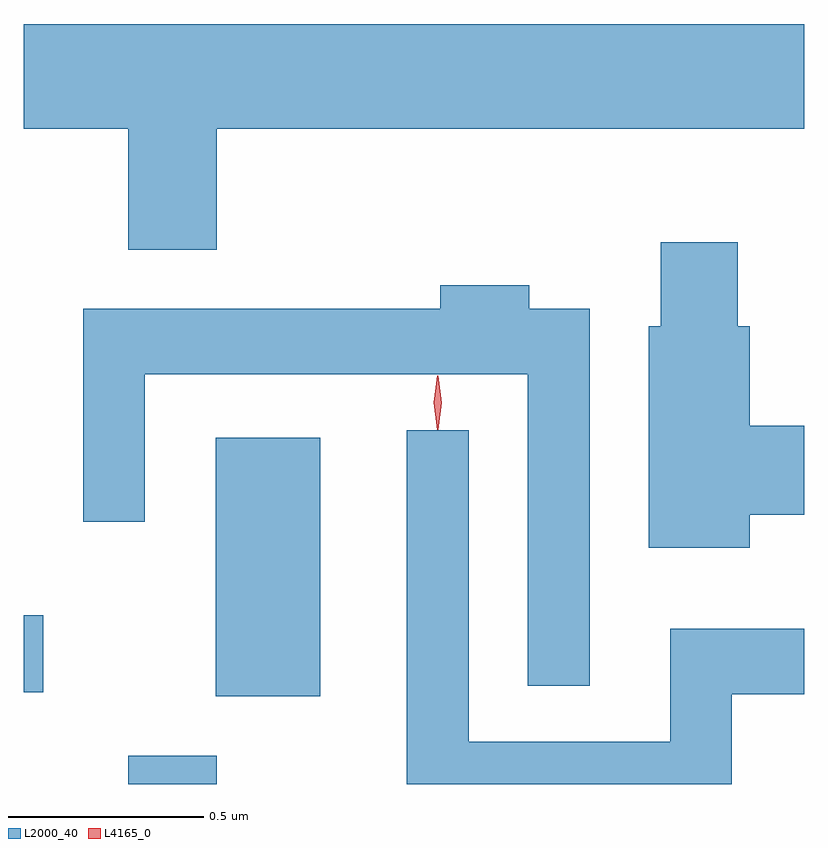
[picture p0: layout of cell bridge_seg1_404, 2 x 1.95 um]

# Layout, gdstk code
import gdstk
lib = gdstk.Library(unit=1e-6, precision=1e-09)
def R(c, l, rs):  # rectangles x0, y0, x1, y1
    for r in rs: c.add(gdstk.rectangle(r[:2], r[2:], *l))
def P(c, l, *ps):  # polygons
    for p in ps: c.add(gdstk.Polygon(p, *l))
L2000_40 = (2000, 40)
L4165_0 = (4165, 0)

bridge_seg1_404 = lib.new_cell('bridge_seg1_404')
R(bridge_seg1_404, L2000_40, [(559.511,968.936,559.739,969.009), (559.736,969.161,560.004,969.824), (559.244,969.171,559.294,969.369)])
P(bridge_seg1_404, L2000_40, [(559.739,970.616),(561.244,970.616),(561.244,970.884),(559.244,970.884),(559.244,970.616),(559.511,970.616),(559.511,970.306),(559.739,970.306)],
  [(561.104,969.626),(561.244,969.626),(561.244,969.854),(561.104,969.854),(561.104,970.109),(561.074,970.109),(561.074,970.324),(560.876,970.324),(560.876,970.109),(560.846,970.109),(560.846,969.541),(561.104,969.541)],
  [(560.694,970.154),(560.539,970.154),(560.539,970.214),(560.311,970.214),(560.311,970.154),(559.396,970.154),(559.396,969.608),(559.554,969.608),(559.554,969.986),(560.536,969.986),(560.536,969.188),(560.694,969.188)],
  [(561.059,969.166),(561.244,969.166),(561.244,969.334),(560.901,969.334),(560.901,969.044),(560.384,969.044),(560.384,969.843),(560.226,969.843),(560.226,968.936),(561.059,968.936)])
P(bridge_seg1_404, L4165_0, [(560.304,969.844),(560.295,969.913),(560.304,969.982),(560.305,969.983),(560.306,969.982),(560.315,969.913),(560.306,969.844),(560.305,969.844)],
  [(560.303,969.847),(560.294,969.914),(560.303,969.98),(560.304,969.98),(560.304,969.98),(560.314,969.914),(560.304,969.847),(560.304,969.847)])

lib.write_gds('bridge_seg1_404.gds')
